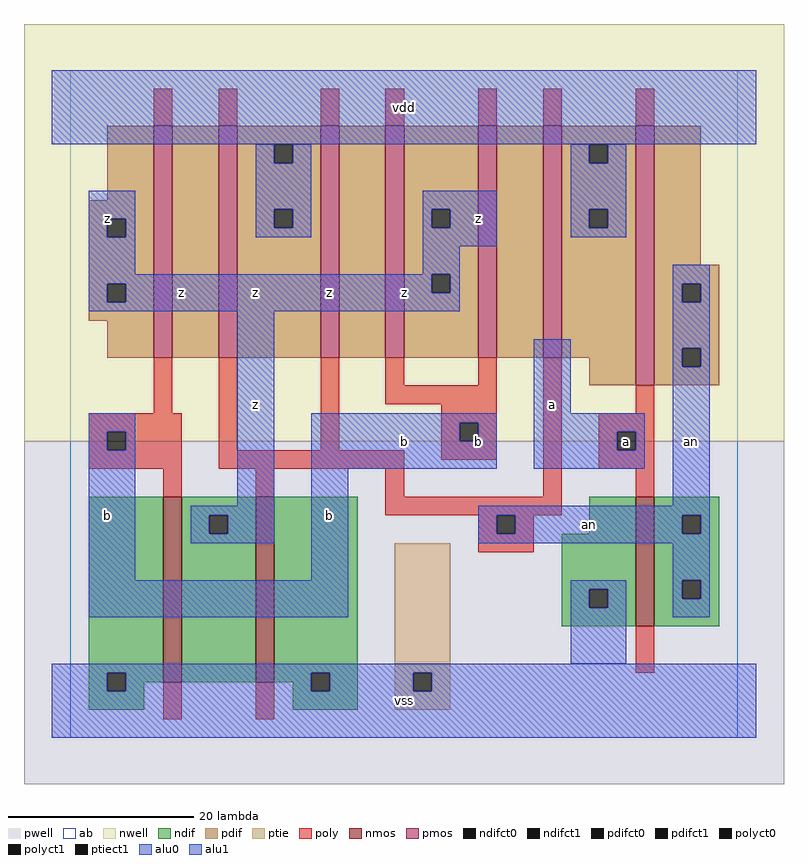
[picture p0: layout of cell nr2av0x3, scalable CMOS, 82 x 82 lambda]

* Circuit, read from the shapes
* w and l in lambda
.subckt nr2av0x3 a an b vdd vss z
M1 z b vss vss nfet w=20 l=2
M2 vss an z vss nfet w=20 l=2
M3 an a vss vss nfet w=14 l=2
M4 n1 b z n2 pfet w=25 l=2
M5 vdd an n1 n2 pfet w=25 l=2
M6 n3 an vdd n2 pfet w=25 l=2
M7 z b n3 n2 pfet w=25 l=2
M8 n4 b z n2 pfet w=25 l=2
M9 vdd an n4 n2 pfet w=25 l=2
M10 an a vdd n2 pfet w=28 l=2
.ends

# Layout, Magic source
magic
tech scmos
<< ab >>
rect 0 0 72 72
<< nwell >>
rect -5 32 77 77
<< pwell >>
rect -5 -5 77 32
<< poly >>
rect 9 66 11 70
rect 16 66 18 70
rect 27 66 29 70
rect 34 66 36 70
rect 44 66 46 70
rect 51 66 53 70
rect 61 66 63 70
rect 9 35 11 41
rect 2 33 12 35
rect 2 31 4 33
rect 6 31 12 33
rect 2 29 12 31
rect 16 31 18 41
rect 27 31 29 41
rect 34 38 36 41
rect 44 38 46 41
rect 34 36 46 38
rect 40 34 46 36
rect 40 32 42 34
rect 44 32 46 34
rect 16 29 36 31
rect 40 30 46 32
rect 10 26 12 29
rect 20 26 22 29
rect 34 26 36 29
rect 51 26 53 41
rect 61 35 63 38
rect 57 33 63 35
rect 57 31 59 33
rect 61 31 63 33
rect 57 29 63 31
rect 61 26 63 29
rect 34 24 53 26
rect 44 22 46 24
rect 48 22 50 24
rect 10 2 12 6
rect 20 2 22 6
rect 44 20 50 22
rect 61 7 63 12
<< ndif >>
rect 2 7 10 26
rect 2 5 4 7
rect 6 6 10 7
rect 12 24 20 26
rect 12 22 15 24
rect 17 22 20 24
rect 12 6 20 22
rect 22 7 31 26
rect 56 22 61 26
rect 22 6 26 7
rect 6 5 8 6
rect 2 3 8 5
rect 24 5 26 6
rect 28 5 31 7
rect 24 3 31 5
rect 53 16 61 22
rect 53 14 56 16
rect 58 14 61 16
rect 53 12 61 14
rect 63 24 70 26
rect 63 22 66 24
rect 68 22 70 24
rect 63 17 70 22
rect 63 15 66 17
rect 68 15 70 17
rect 63 12 70 15
<< pdif >>
rect 4 58 9 66
rect 2 56 9 58
rect 2 54 4 56
rect 6 54 9 56
rect 2 49 9 54
rect 2 47 4 49
rect 6 47 9 49
rect 2 45 9 47
rect 4 41 9 45
rect 11 41 16 66
rect 18 64 27 66
rect 18 62 22 64
rect 24 62 27 64
rect 18 57 27 62
rect 18 55 22 57
rect 24 55 27 57
rect 18 41 27 55
rect 29 41 34 66
rect 36 57 44 66
rect 36 55 39 57
rect 41 55 44 57
rect 36 50 44 55
rect 36 48 39 50
rect 41 48 44 50
rect 36 41 44 48
rect 46 41 51 66
rect 53 64 61 66
rect 53 62 56 64
rect 58 62 61 64
rect 53 57 61 62
rect 53 55 56 57
rect 58 55 61 57
rect 53 41 61 55
rect 56 38 61 41
rect 63 51 68 66
rect 63 49 70 51
rect 63 47 66 49
rect 68 47 70 49
rect 63 42 70 47
rect 63 40 66 42
rect 68 40 70 42
rect 63 38 70 40
<< alu1 >>
rect -2 64 74 72
rect 2 56 7 59
rect 2 54 4 56
rect 6 54 7 56
rect 38 57 46 59
rect 38 55 39 57
rect 41 55 46 57
rect 2 50 7 54
rect 38 53 46 55
rect 38 50 42 53
rect 2 49 39 50
rect 2 47 4 49
rect 6 48 39 49
rect 41 48 42 50
rect 6 47 42 48
rect 2 46 42 47
rect 2 33 7 35
rect 2 31 4 33
rect 6 31 7 33
rect 2 17 7 31
rect 18 25 22 46
rect 50 35 54 43
rect 13 24 22 25
rect 13 22 15 24
rect 17 22 22 24
rect 13 21 22 22
rect 26 34 46 35
rect 26 32 42 34
rect 44 32 46 34
rect 26 29 46 32
rect 50 33 62 35
rect 50 31 59 33
rect 61 31 62 33
rect 50 29 62 31
rect 26 17 30 29
rect 2 13 30 17
rect -2 7 74 8
rect -2 5 4 7
rect 6 5 26 7
rect 28 5 37 7
rect 39 5 74 7
rect -2 0 74 5
<< ptie >>
rect 35 7 41 21
rect 35 5 37 7
rect 39 5 41 7
rect 35 3 41 5
<< nmos >>
rect 10 6 12 26
rect 20 6 22 26
rect 61 12 63 26
<< pmos >>
rect 9 41 11 66
rect 16 41 18 66
rect 27 41 29 66
rect 34 41 36 66
rect 44 41 46 66
rect 51 41 53 66
rect 61 38 63 66
<< polyct0 >>
rect 46 22 48 24
<< polyct1 >>
rect 4 31 6 33
rect 42 32 44 34
rect 59 31 61 33
<< ndifct0 >>
rect 56 14 58 16
rect 66 22 68 24
rect 66 15 68 17
<< ndifct1 >>
rect 4 5 6 7
rect 15 22 17 24
rect 26 5 28 7
<< ptiect1 >>
rect 37 5 39 7
<< pdifct0 >>
rect 22 62 24 64
rect 22 55 24 57
rect 56 62 58 64
rect 56 55 58 57
rect 66 47 68 49
rect 66 40 68 42
<< pdifct1 >>
rect 4 54 6 56
rect 4 47 6 49
rect 39 55 41 57
rect 39 48 41 50
<< alu0 >>
rect 20 62 22 64
rect 24 62 26 64
rect 20 57 26 62
rect 54 62 56 64
rect 58 62 60 64
rect 20 55 22 57
rect 24 55 26 57
rect 20 54 26 55
rect 54 57 60 62
rect 54 55 56 57
rect 58 55 60 57
rect 54 54 60 55
rect 65 49 69 51
rect 65 47 66 49
rect 68 47 69 49
rect 65 42 69 47
rect 65 40 66 42
rect 68 40 69 42
rect 65 25 69 40
rect 44 24 69 25
rect 44 22 46 24
rect 48 22 66 24
rect 68 22 69 24
rect 44 21 69 22
rect 65 17 69 21
rect 54 16 60 17
rect 54 14 56 16
rect 58 14 60 16
rect 54 8 60 14
rect 65 15 66 17
rect 68 15 69 17
rect 65 13 69 15
<< labels >>
rlabel alu0 56 23 56 23 6 an
rlabel alu0 67 32 67 32 6 an
rlabel alu1 4 24 4 24 6 b
rlabel alu1 12 48 12 48 6 z
rlabel alu1 4 56 4 56 6 z
rlabel alu1 28 24 28 24 6 b
rlabel alu1 20 36 20 36 6 z
rlabel alu1 20 48 20 48 6 z
rlabel alu1 28 48 28 48 6 z
rlabel alu1 36 4 36 4 6 vss
rlabel alu1 36 32 36 32 6 b
rlabel alu1 44 32 44 32 6 b
rlabel alu1 52 36 52 36 6 a
rlabel alu1 36 48 36 48 6 z
rlabel alu1 44 56 44 56 6 z
rlabel alu1 36 68 36 68 6 vdd
rlabel polyct1 60 32 60 32 6 a
<< end >>
